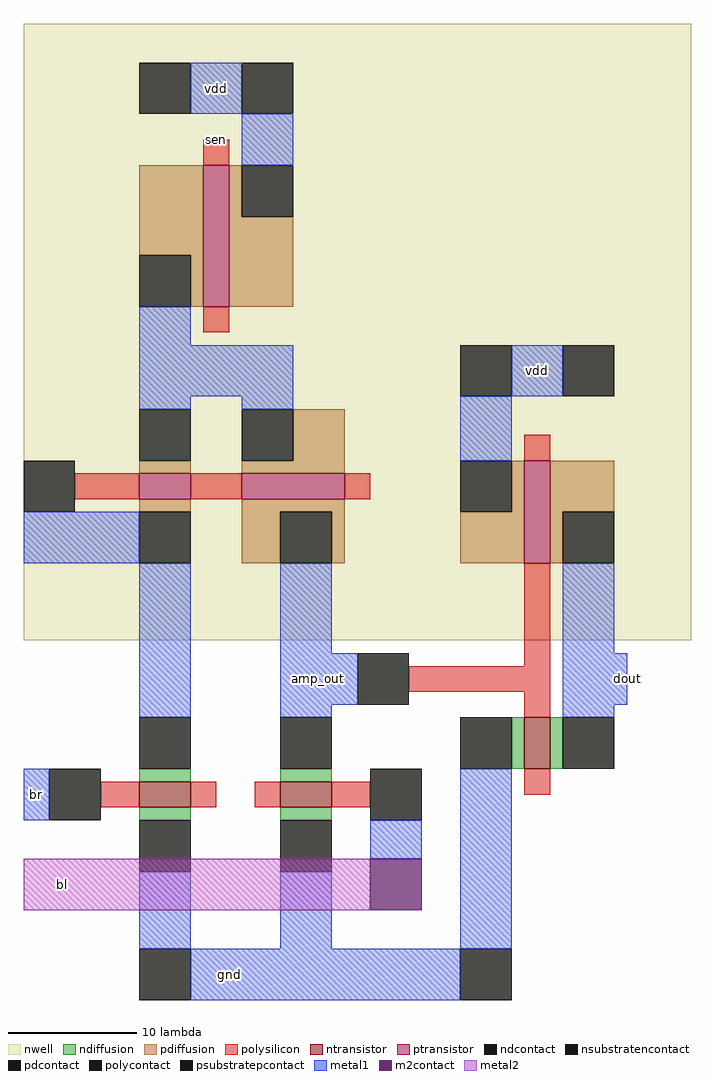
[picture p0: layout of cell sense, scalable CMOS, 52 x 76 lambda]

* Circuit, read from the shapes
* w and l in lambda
.subckt sense amp_out bl br dout gnd sen vdd
M1 n1 br gnd gnd nfet w=4 l=2
M2 amp_out bl gnd gnd nfet w=4 l=2
M3 dout amp_out gnd gnd nfet w=4 l=2
M4 n2 n1 n1 vdd pfet w=4 l=2
M5 vdd sen n2 vdd pfet w=11 l=2
M6 n2 n1 amp_out vdd pfet w=8 l=2
M7 dout amp_out vdd vdd pfet w=8 l=2
.ends

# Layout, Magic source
magic
tech scmos
<< nwell >>
rect -26 -23 26 25
<< ntransistor >>
rect 13 -33 15 -29
rect -17 -36 -13 -34
rect -6 -36 -2 -34
<< ptransistor >>
rect -12 3 -10 14
rect -17 -12 -13 -10
rect -9 -12 -1 -10
rect 13 -17 15 -9
<< ndiffusion >>
rect -17 -34 -13 -33
rect 12 -33 13 -29
rect 15 -33 16 -29
rect -6 -34 -2 -33
rect -17 -37 -13 -36
rect -6 -37 -2 -36
<< pdiffusion >>
rect -17 7 -12 14
rect -13 3 -12 7
rect -10 10 -9 14
rect -10 3 -5 10
rect -17 -10 -13 -9
rect -5 -9 -1 -5
rect -9 -10 -1 -9
rect -17 -13 -13 -12
rect -9 -13 -1 -12
rect -9 -17 -6 -13
rect -2 -17 -1 -13
rect 12 -13 13 -9
rect 8 -17 13 -13
rect 15 -13 20 -9
rect 15 -17 16 -13
<< ndcontact >>
rect -17 -33 -13 -29
rect -6 -33 -2 -29
rect 8 -33 12 -29
rect 16 -33 20 -29
rect -17 -41 -13 -37
rect -6 -41 -2 -37
<< pdcontact >>
rect -17 3 -13 7
rect -9 10 -5 14
rect -17 -9 -13 -5
rect -9 -9 -5 -5
rect -17 -17 -13 -13
rect -6 -17 -2 -13
rect 8 -13 12 -9
rect 16 -17 20 -13
<< psubstratepcontact >>
rect -17 -51 -13 -47
rect 8 -51 12 -47
<< nsubstratencontact >>
rect -17 18 -13 22
rect -9 18 -5 22
rect 8 -4 12 0
rect 16 -4 20 0
<< polysilicon >>
rect -12 14 -10 16
rect -12 1 -10 3
rect 13 -9 15 -7
rect -22 -12 -17 -10
rect -13 -12 -9 -10
rect -1 -12 1 -10
rect 13 -25 15 -17
rect 4 -27 15 -25
rect 13 -29 15 -27
rect -20 -36 -17 -34
rect -13 -36 -11 -34
rect -8 -36 -6 -34
rect -2 -36 1 -34
rect 13 -35 15 -33
<< polycontact >>
rect -26 -13 -22 -9
rect 0 -28 4 -24
rect -24 -37 -20 -33
rect 1 -37 5 -33
<< metal1 >>
rect -13 18 -9 22
rect -9 14 -5 18
rect -17 0 -13 3
rect -17 -4 -5 0
rect -17 -5 -13 -4
rect -9 -5 -5 -4
rect 12 -4 16 0
rect 8 -9 12 -4
rect -26 -17 -17 -13
rect -17 -29 -13 -17
rect -6 -24 -2 -17
rect 16 -24 20 -17
rect -6 -28 0 -24
rect 16 -28 21 -24
rect -6 -29 -2 -28
rect 16 -29 20 -28
rect -26 -37 -24 -33
rect -17 -47 -13 -41
rect -6 -47 -2 -41
rect 1 -40 5 -37
rect 8 -47 12 -33
rect -13 -51 8 -47
<< m2contact >>
rect 1 -44 5 -40
<< metal2 >>
rect -26 -44 1 -40
<< labels >>
rlabel metal1 -10 -49 -10 -49 1 gnd
rlabel metal1 21 -28 21 -24 7 dout
rlabel metal1 14 -2 14 -2 1 vdd
rlabel metal1 -3 -26 -3 -26 1 amp_out
rlabel metal1 -11 20 -11 20 5 vdd
rlabel polysilicon -12 16 -10 16 1 sen
rlabel metal2 -23 -42 -23 -42 3 bl
rlabel metal1 -25 -35 -25 -35 3 br
<< end >>
